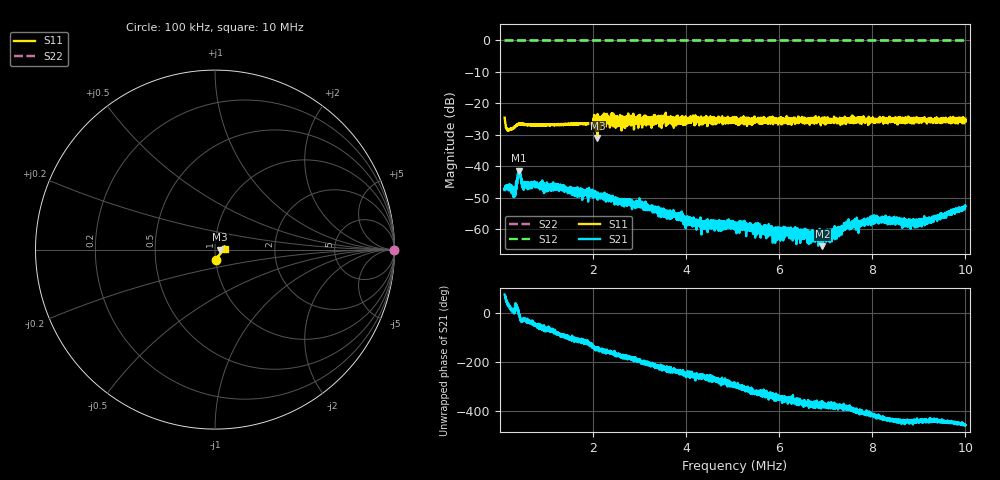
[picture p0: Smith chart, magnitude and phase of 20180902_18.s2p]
! Anritsu VNA Master:  Model: MS2026C/19
! SN:  1815009
! /card0/usr/20180902_18.s2p
! Existing Calibration Information:
! TYPE:  Current Settings,  Active Cal Settings
! TIME:  09/02/2018 12:54:06 PM,  09/02/2018 11:58:48 AM
! INTERNAL TEMP:  54.0 C,  48.8 C
! # POINTS:  4001,  4001
! START FREQ:  100.000 kHz,  100.000 kHz
! STOP FREQ:  10.000 MHz,  10.000 MHz
! SOURCE POWER:  Low,  Low
! IFBW:  500 Hz,  500 Hz
! AVG FACTOR:  5 ,  1
! REF PLANE 1:  0 mm,  0 mm
! REF PLANE 2:  0 mm,  0 mm
! CAL TYPE:  1P2P S11,S21,  1P2P S11,S21
! CAL METHOD:  SOLT,  SOLT
! CAL LINE TYPE:  Coax,  Coax
! DUT PORT 1:  N-Conn(M),  N-Conn(M)
! DUT PORT 2:  N-Conn(M),  N-Conn(M)
! CAL STATUS:  ?T: Accuracy moderate (|Temp diff| > 5.0 C),  --
# GHZ S RI R 50.0
! FREQ.GHZ  S11RE  S11IM  S21RE  S21IM  S12RE  S12IM  S22RE  S22IM
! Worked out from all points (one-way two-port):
!   4001 points, 100 kHz to 10 MHz, reference 50 ohm
!   highest |S21| = -41.39 dB at 414.3 kHz (marker M1); lowest = -65.3 dB at 6.929 MHz (marker M2)
!   lowest |S11| = -31.0 dB at 2.095 MHz (marker M3), VSWR 1.06, Z = 52.9 - j0.0292 ohm
!   |S11| at or under -10 dB: start of sweep to end of sweep
!   |S22| runs from 0.0 to 0.0 dB; largest |S21 - S12| = 1
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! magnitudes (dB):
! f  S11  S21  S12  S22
! 100 kHz  -24.5  -47.5  0.0  0.0
! 176.7 kHz  -28.3  -46.8  0.0  0.0
! 302.9 kHz  -27.8  -49.1  0.0  0.0
! 414.3 kHz  -26.5  -41.4  0.0  0.0
! 525.7 kHz  -26.7  -46.1  0.0  0.0
! 1.256 MHz  -26.7  -46.3  0.0  0.0
! 1.751 MHz  -26.3  -48.0  0.0  0.0
! 2.095 MHz  -31.0  -49.5  0.0  0.0
! 3.011 MHz  -25.5  -52.6  0.0  0.0
! 3.402 MHz  -26.3  -52.8  0.0  0.0
! 4.283 MHz  -24.9  -58.3  0.0  0.0
! 5.05 MHz  -25.0  -59.1  0.0  0.0
! 5.976 MHz  -26.7  -60.5  0.0  0.0
! 6.159 MHz  -25.0  -60.9  0.0  0.0
! 6.701 MHz  -25.6  -62.4  0.0  0.0
! 6.929 MHz  -25.1  -65.3  0.0  0.0
! 7.122 MHz  -25.5  -62.4  0.0  0.0
! 7.622 MHz  -25.5  -57.7  0.0  0.0
! 8.072 MHz  -26.0  -56.5  0.0  0.0
! 8.352 MHz  -25.7  -56.9  0.0  0.0
! 8.946 MHz  -25.4  -58.0  0.0  0.0
! 10 MHz  -24.9  -52.6  0.0  0.0
